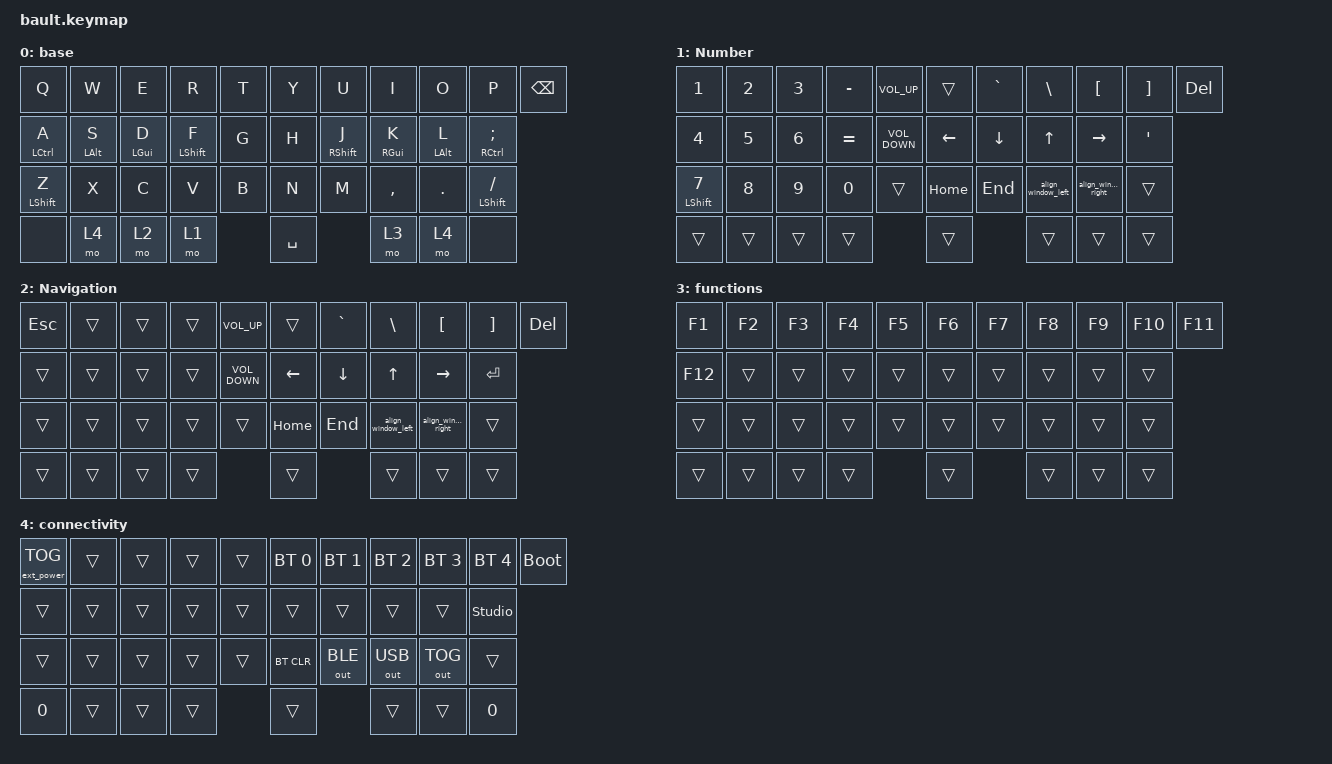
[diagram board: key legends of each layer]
#include <behaviors.dtsi>
#include <dt-bindings/zmk/bt.h>
#include <dt-bindings/zmk/ext_power.h>
#include <dt-bindings/zmk/keys.h>
#include <dt-bindings/zmk/outputs.h>

/ {
    behaviors {
        hm: homerow_mods {
            compatible = "zmk,behavior-hold-tap";
            display-name = "Homerow Mods";
            bindings = <&kp>, <&kp>;

            #binding-cells = <2>;
            tapping-term-ms = <180>;
            quick-tap-ms = <150>;
            require-prior-idle-ms = <0>;
            flavor = "tap-preferred";
        };
    };

    macros {
        align_window_left: align_window_left {
            compatible = "zmk,behavior-macro";
            #binding-cells = <0>;
            bindings = <&kt LEFT_GUI &kp LEFT_ARROW &kt LEFT_GUI>;
            label = "ALIGN_WINDOW_LEFT";
        };

        align_window_right: align_window_right {
            compatible = "zmk,behavior-macro";
            #binding-cells = <0>;
            bindings = <&kt LEFT_GUI &kp RIGHT_ARROW &kt LEFT_GUI>;
            label = "ALIGN_WINDOW_RIGHT";
        };

        mac_screenshot: mac_screenshot {
            compatible = "zmk,behavior-macro";
            #binding-cells = <0>;
            bindings = <&kp LS(LG(NUMBER_3))>;
            label = "MAC_SCREENSHOT";
        };
    };

    combos {
        compatible = "zmk,combos";

        combo_snipy_snip {
            bindings = <&mac_screenshot>;
            key-positions = <12 26 7 9>;
        };

        combo_tab {
            bindings = <&kp TAB>;
            key-positions = <13 14>;
        };

        combo_escape {
            bindings = <&kp ESCAPE>;
            key-positions = <0 1>;
        };

        combo_enter {
            bindings = <&kp ENTER>;
            key-positions = <17 18>;
        };
    };

    keymap {
        compatible = "zmk,keymap";

        base {
            bindings = <
&kp Q               &kp W           &kp E       &kp R             &kp T  &kp Y      &kp U              &kp I            &kp O           &kp P                 &kp BACKSPACE
&hm LEFT_CONTROL A  &hm LEFT_ALT S  &hm LGUI D  &hm LEFT_SHIFT F  &kp G  &kp H      &hm RIGHT_SHIFT J  &hm RIGHT_GUI K  &hm LEFT_ALT L  &hm RCTRL SEMICOLON
&hm LEFT_SHIFT Z    &kp X           &kp C       &kp V             &kp B  &kp N      &kp M              &kp COMMA        &kp PERIOD      &hm LEFT_SHIFT SLASH
&none               &mo 4           &mo 2       &mo 1                    &kp SPACE                     &mo 3            &mo 4           &none
            >;
        };

        Number {
            bindings = <
&kp N1             &kp N2  &kp N3        &kp MINUS  &kp C_VOLUME_UP    &trans          &kp GRAVE       &kp BACKSLASH       &kp LEFT_BRACKET     &kp RIGHT_BRACKET  &kp DELETE
&kp NUMBER_4       &kp N5  &kp NUMBER_6  &kp EQUAL  &kp C_VOLUME_DOWN  &kp LEFT_ARROW  &kp DOWN_ARROW  &kp UP_ARROW        &kp RIGHT_ARROW      &kp APOSTROPHE
&hm LEFT_SHIFT N7  &kp N8  &kp N9        &kp N0     &trans             &kp HOME        &kp END         &align_window_left  &align_window_right  &trans
&trans             &trans  &trans        &trans                        &trans                          &trans              &trans               &trans
            >;
        };

        Navigation {
            bindings = <
&kp ESCAPE  &trans  &trans  &trans  &kp C_VOLUME_UP    &trans          &kp GRAVE       &kp BACKSLASH       &kp LEFT_BRACKET     &kp RIGHT_BRACKET  &kp DELETE
&trans      &trans  &trans  &trans  &kp C_VOLUME_DOWN  &kp LEFT_ARROW  &kp DOWN_ARROW  &kp UP_ARROW        &kp RIGHT_ARROW      &kp ENTER
&trans      &trans  &trans  &trans  &trans             &kp HOME        &kp END         &align_window_left  &align_window_right  &trans
&trans      &trans  &trans  &trans                     &trans                          &trans              &trans               &trans
            >;
        };

        functions {
            bindings = <
&kp F1   &kp F2  &kp F3  &kp F4  &kp F5  &kp F6  &kp F7  &kp F8  &kp F9  &kp F10  &kp F11
&kp F12  &trans  &trans  &trans  &trans  &trans  &trans  &trans  &trans  &trans
&trans   &trans  &trans  &trans  &trans  &trans  &trans  &trans  &trans  &trans
&trans   &trans  &trans  &trans          &trans          &trans  &trans  &trans
            >;
        };

        connectivity {
            bindings = <
&ext_power EP_TOG  &trans  &trans  &trans  &trans  &bt BT_SEL 0  &bt BT_SEL 1  &bt BT_SEL 2  &bt BT_SEL 3  &bt BT_SEL 4    &bootloader
&trans             &trans  &trans  &trans  &trans  &trans        &trans        &trans        &trans        &studio_unlock
&trans             &trans  &trans  &trans  &trans  &bt BT_CLR    &out OUT_BLE  &out OUT_USB  &out OUT_TOG  &trans
&kp N0             &trans  &trans  &trans          &trans                      &trans        &trans        &kp N0
            >;
        };
    };
};
